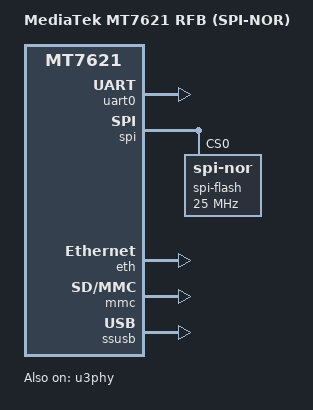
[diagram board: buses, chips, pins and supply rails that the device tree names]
// SPDX-License-Identifier: GPL-2.0
/*
 * Copyright (C) 2022 MediaTek Inc. All rights reserved.
 *
 * Author: Weijie Gao <weijie.gao@mediatek.com>
 */

/dts-v1/;

#include "mt7621.dtsi"

/ {
	compatible = "mediatek,mt7621-rfb", "mediatek,mt7621-soc";
	model = "MediaTek MT7621 RFB (SPI-NOR)";

	aliases {
		serial0 = &uart0;
		spi0 = &spi;
	};

	chosen {
		stdout-path = &uart0;
	};
};

&pinctrl {
	state_default: pin_state {
		gpios {
			groups = "i2c", "uart3", "pcie reset";
			function = "gpio";
		};

		wdt {
			groups = "wdt";
			function = "wdt rst";
		};

		jtag {
			groups = "jtag";
			function = "jtag";
		};
	};
};

&uart0 {
	status = "okay";
};

&gpio {
	status = "okay";
};

&spi {
	status = "okay";
	num-cs = <2>;

	spi-flash@0 {
		#address-cells = <1>;
		#size-cells = <1>;
		compatible = "jedec,spi-nor";
		spi-max-frequency = <25000000>;
		reg = <0>;
	};
};

&eth {
	status = "okay";
};

&mmc {
	cap-sd-highspeed;

	status = "okay";
};

&ssusb {
	status = "okay";
};

&u3phy {
	status = "okay";
};
